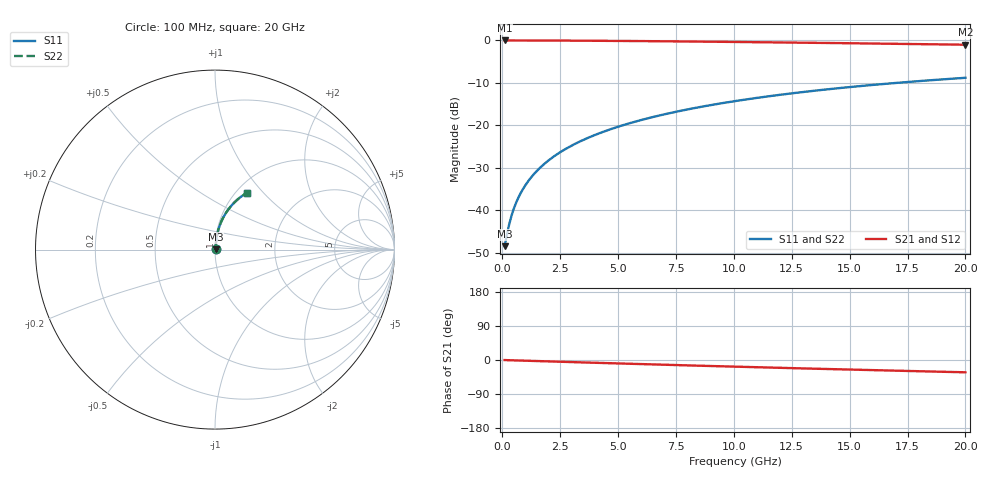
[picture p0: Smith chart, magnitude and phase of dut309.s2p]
! Touchstone file exported from HFSS 2024.1.0
!  File:  C:/UserFiles/LocalFiles/RDL_TSV_Batchsim/temp_RDL_bottom_309_1779610569.aedt
!  Generated:  04:18:59 PM May 24, 2026
!  Design:  RDL_bottom
!  Project:  temp_RDL_bottom_309_1779610569
!  Setup:  Setup1
!  Solution:  Sweep
! Variables:
!  dtsv = 10.80580581um
!  hbump = 3um
!  htsv = 78.54um
!  ldown = 418.6um
!  lrdl = 100um
!  p = 40
!  p1 = 44.9um
!  rhole = 1um
!  t = 450um
!  tdown = 3.37um
!  trdl = 3.915915916um
!  wdown = 14.51um
!  wrdl = 20um
# GHz S MA R 50.000000
! Terminal data exported
! Port[1] = RDL1_T1
! Port[2] = RDL1_T2
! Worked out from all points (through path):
!   200 points, 100 MHz to 20 GHz, reference 50 ohm
!   highest |S21| = -0.03 dB at 100 MHz (marker M1); lowest = -1.0 dB at 20 GHz (marker M2)
!   group delay of S21, straight-line fit = 4.5 ps
!   lowest |S11| = -48.5 dB at 100 MHz (marker M3), VSWR 1.01, Z = 50.3 + j0.203 ohm
!   |S11| at or under -10 dB: start of sweep to 17.08 GHz
!   |S22| runs from -48.5 to -8.8 dB; largest |S21 - S12| = 2.6e-15
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0.1  0.003758 32.4  0.9968 -0.2  0.9968 -0.2  0.003758 32.4
! Gamma 0 0 0 0
! Port Impedance 50 0 50 0
0.2  0.005157 51.1  0.9968 -0.4  0.9968 -0.4  0.005157 51.1
0.3  0.006843 60.8  0.9967 -0.6  0.9967 -0.6  0.006843 60.8
0.4  0.008624 66.5  0.9965 -0.8  0.9965 -0.8  0.008624 66.5
0.5  0.01044 70.1  0.9964 -0.9  0.9964 -0.9  0.01044 70.1
0.6  0.01227 72.7  0.9963 -1.1  0.9963 -1.1  0.01227 72.7
0.8  0.01596 76.0  0.9961 -1.5  0.9961 -1.5  0.01596 76.0
1.1  0.02155 78.8  0.9957 -2.0  0.9957 -2.0  0.02155 78.9
1.3  0.0253 80.0  0.9954 -2.4  0.9954 -2.4  0.0253 80.0
1.6  0.03096 81.1  0.995 -3.0  0.995 -3.0  0.03096 81.1
2.1  0.04043 82.0  0.994 -3.9  0.994 -3.9  0.04043 82.1
2.7  0.05185 82.4  0.9926 -5.0  0.9926 -5.0  0.05185 82.4
3.5  0.06715 82.3  0.9903 -6.4  0.9903 -6.4  0.06715 82.3
4.2  0.08057 81.9  0.9878 -7.7  0.9878 -7.7  0.08058 81.9
5  0.09595 81.3  0.9846 -9.1  0.9846 -9.1  0.09595 81.3
5.9  0.1133 80.3  0.9805 -10.7  0.9805 -10.7  0.1133 80.3
6.8  0.1306 79.3  0.976 -12.2  0.976 -12.2  0.1306 79.3
8.3  0.1593 77.4  0.9678 -14.7  0.9678 -14.7  0.1593 77.4
10.1  0.1933 74.9  0.957 -17.7  0.957 -17.7  0.1933 74.9
13.4  0.2535 70.2  0.9355 -22.8  0.9355 -22.8  0.2536 70.2
16.7  0.31 65.4  0.9123 -27.8  0.9123 -27.8  0.31 65.4
20  0.3619 60.8  0.8882 -32.4  0.8882 -32.4  0.362 60.8
